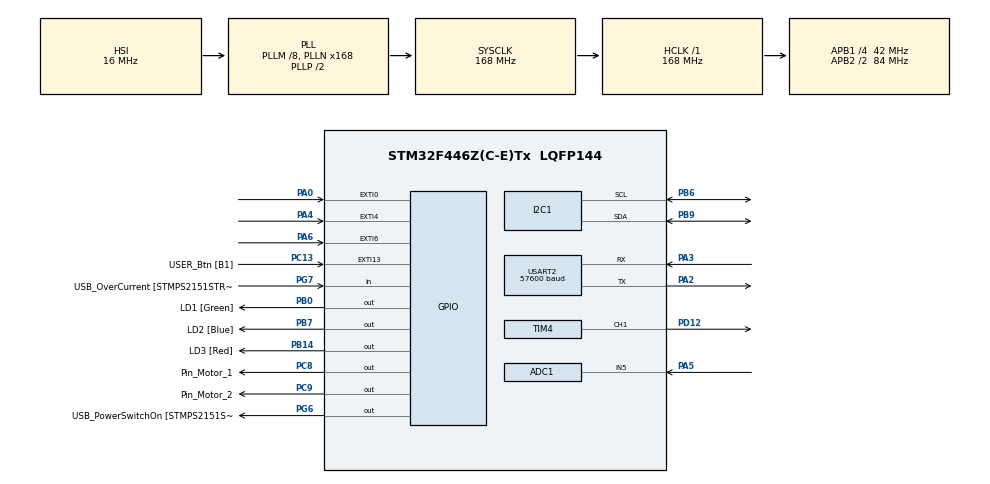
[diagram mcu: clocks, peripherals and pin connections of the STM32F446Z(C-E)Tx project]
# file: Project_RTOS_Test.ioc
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Mcu.Family=STM32F4
PH0-OSC_IN.Signal=RCC_OSC_IN
VP_SYS_VS_tim6.Mode=TIM6
RCC.CortexFreq_Value=168000000
PG6.Signal=GPIO_Output
NVIC.I2C1_EV_IRQn=true\:6\:0\:true\:false\:true\:true\:true
NVIC.TIM6_DAC_IRQn=true\:0\:0\:false\:false\:true\:false\:true
PB14.GPIO_Label=LD3 [Red]
PG6.GPIO_Label=USB_PowerSwitchOn [STMPS2151STR_EN]
PA14.GPIO_Label=TCK
RCC.SYSCLKSourceVirtual=RCC_SYSCLKSOURCE_PLLCLK
PB0.GPIO_Label=LD1 [Green]
PC13.GPIO_Label=USER_Btn [B1]
RCC.SYSCLKSource=RCC_SYSCLKSOURCE_PLLCLK
ProjectManager.StackSize=0x400
NVIC.ADC_IRQn=true\:6\:0\:true\:false\:true\:true\:true
PA12.Signal=USB_OTG_FS_DP
RCC.HCLKFreq_Value=168000000
RCC.APB2TimFreq_Value=168000000
TIM4.Pulse-PWM\ Generation1\ CH1=8000
PB6.Signal=I2C1_SCL
ADC1.InjNumberOfConversion=0
PB6.Mode=I2C
PD8.Signal=USART3_TX
RCC.AHBFreq_Value=168000000
PH0-OSC_IN.GPIO_Label=MCO [STM32F103CBT6_PA8]
NVIC.EXTI15_10_IRQn=true\:6\:0\:true\:false\:true\:true\:true
ADC1.Channel-0\#ChannelRegularConversion=ADC_CHANNEL_5
RCC.HSE_VALUE=8000000
RCC.PLLMUL=RCC_PLL_MUL9
PA10.GPIO_Label=USB_ID
PB7.Signal=GPIO_Output
PA8.Signal=USB_OTG_FS_SOF
TIM4.Period=10000
NVIC.I2C1_ER_IRQn=true\:6\:0\:true\:false\:true\:true\:true
PB6.GPIO_PuPdOD=GPIO_NOPULL
ADC1.SamplingTime-0\#ChannelRegularConversion=ADC_SAMPLETIME_3CYCLES
PB7.GPIO_Label=LD2 [Blue]
Mcu.Package=LQFP144
PB9.Signal=I2C1_SDA
PA6.Signal=GPXTI6
NVIC.TimeBase=TIM6_DAC_IRQn
USART2.VirtualMode=VM_ASYNC
PD12.Signal=S_TIM4_CH1
NVIC.TimeBaseIP=TIM6
PA10.Signal=USB_OTG_FS_ID
PC8.GPIO_Speed=GPIO_SPEED_FREQ_MEDIUM
RCC.APB2CLKDivider=RCC_HCLK_DIV2
SH.SharedAnalog_PA5.1=ADC1_IN5,IN5
SH.SharedAnalog_PA5.0=GPIO_Analog
SH.S_TIM4_CH1.0=TIM4_CH1,PWM Generation1 CH1
RCC.APB1TimFreq_Value=84000000
PA3.Signal=USART2_RX
TIM4.Channel-PWM\ Generation1\ CH1=TIM_CHANNEL_1
NVIC.EXTI4_IRQn=true\:6\:0\:true\:false\:true\:true\:true
TIM4.AutoReloadPreload=TIM_AUTORELOAD_PRELOAD_ENABLE
ADC1.Rank-0\#ChannelRegularConversion=1
PG7.Signal=GPIO_Input
TIM4.CounterMode=TIM_COUNTERMODE_UP
PD9.GPIO_Label=STLK_TX [STM32F103CBT6_PA2]
PC9.GPIO_Label=Pin_Motor_2
PC13.Signal=GPXTI13
PA9.GPIO_Label=USB_VBUS
PC8.Signal=GPIO_Output
PA11.GPIO_Label=USB_DM
PD9.Signal=USART3_RX
RCC.APB1CLKDivider=RCC_HCLK_DIV4
PC14-OSC32_IN.Signal=RCC_OSC32_IN
NVIC.USART2_IRQn=true\:6\:0\:true\:false\:true\:true\:true
USART2.BaudRate=57600
PA12.GPIO_Label=USB_DP
PA0-WKUP.Signal=GPXTI0
PD8.GPIO_Label=STLK_RX [STM32F103CBT6_PA3]
PC8.GPIO_Label=Pin_Motor_1
PA3.Mode=Asynchronous
PA13.Signal=SYS_JTMS-SWDIO
PA8.GPIO_Label=USB_SOF [TP1]
ProjectManager.TargetToolchain=STM32CubeIDE
I2C1.I2C_Mode=I2C_Standard
PB9.Mode=I2C
PA9.Signal=USB_OTG_FS_VBUS
RCC.USBFreq_Value=168000000
TIM4.Prescaler=420
RCC.LSE_VALUE=32768
PC15-OSC32_OUT.Signal=RCC_OSC32_OUT
PB14.Signal=GPIO_Output
PA5.Signal=SharedAnalog_PA5
board=NUCLEO-F446ZE
RCC.VCOOutputFreq_Value=336000000
RCC.APB2Freq_Value=84000000
RCC.PRESCALERUSB=RCC_USBCLKSOURCE_PLL_DIV1_5
PG7.GPIO_Label=USB_OverCurrent [STMPS2151STR_FAULT]
PH1-OSC_OUT.Signal=RCC_OSC_OUT
ADC1.NbrOfConversion=1
Mcu.Name=STM32F446Z(C-E)Tx
PA2.Signal=USART2_TX
PA13.GPIO_Label=TMS
I2C1.OwnAddress=97
RCC.48MHZClocksFreq_Value=24000000
NVIC.EXTI0_IRQn=true\:6\:0\:true\:false\:true\:true\:true
PA4.Signal=GPXTI4
RCC.SYSCLKFreq_VALUE=168000000
ADC1.master=1
PA11.Signal=USB_OTG_FS_DM
NVIC.EXTI9_5_IRQn=true\:6\:0\:true\:false\:true\:true\:true
PA14.Signal=SYS_JTCK-SWCLK
ProjectManager.HeapSize=0x200
PB9.GPIO_PuPdOD=GPIO_NOPULL
RCC.HSI_VALUE=16000000
VP_TIM4_VS_ClockSourceINT.Mode=Internal
PC9.GPIO_Speed=GPIO_SPEED_FREQ_MEDIUM
NVIC.PriorityGroup=NVIC_PRIORITYGROUP_4
ADC1.NbrOfConversionFlag=1
RCC.PLLM=8
RCC.PLLN=168
PA2.Mode=Asynchronous
PC9.Signal=GPIO_Output
RCC.APB1Freq_Value=42000000
PB0.Signal=GPIO_Output

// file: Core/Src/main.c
/* USER CODE BEGIN Header */
/**
  ******************************************************************************
  * @file           : main.c
  * @brief          : Main program body
  ******************************************************************************
  * @attention
  *
  * <h2><center>&copy; Copyright (c) 2021 STMicroelectronics.
  * All rights reserved.</center></h2>
  *
  * This software component is licensed by ST under BSD 3-Clause license,
  * the "License"; You may not use this file except in compliance with the
  * License. You may obtain a copy of the License at:
  *                        opensource.org/licenses/BSD-3-Clause
  *
  ******************************************************************************
  */
/* USER CODE END Header */
#include "main.h"

ADC_HandleTypeDef hadc1;

I2C_HandleTypeDef hi2c1;

TIM_HandleTypeDef htim4;

UART_HandleTypeDef huart2;

/* USER CODE BEGIN PV */

#define DWT_CTRL	(*(volatile uint32_t*)0xE0001000)

TaskHandle_t print_LCD;
TaskHandle_t uart_deco;
TaskHandle_t uart_out;
TaskHandle_t all_menus_handler;

QueueHandle_t q_print_lcd;
QueueHandle_t q_print_uart;
QueueHandle_t q_data_uart;

volatile uint8_t uart_data;
uint8_t cont_timer = 0;
uint32_t valor_adc;
uint8_t send_agm_uart = 0;
uint8_t send_adc_uart = 0;
uint8_t valor_pwm_ext;

FlagStatus state_agm = RESET;
FlagStatus state_adc_pwm = RESET;

SemaphoreHandle_t sema_lcd;
SemaphoreHandle_t sema_i2c_rx_end;
SemaphoreHandle_t sema_adc;

state_t display_state = Menu_1;

control_pwm_t ctrl_pwm = Interno_ADC;

A_M_ejes_t Acel_ejes, Magne_ejes;
G_ejes_t Gyro_ejes;
AGM_t AGM_ejes;
AGM_t *pAGM_ejes = &AGM_ejes;

TimerHandle_t AGM_ADC_timer;
TimerHandle_t Buttons_timer[4];

/* USER CODE END PV */

void SystemClock_Config(void);
static void MX_GPIO_Init(void);
static void MX_ADC1_Init(void);
static void MX_I2C1_Init(void);
static void MX_TIM4_Init(void);
static void MX_USART2_UART_Init(void);
/* USER CODE BEGIN PFP */

extern void SEGGER_UART_init(U32 baud);

void AGM_ADC_timer_callback(TimerHandle_t xTimer);
void Buttons_timer_callback(TimerHandle_t xTimer);

void Init_tasks(void);
void Init_semaphores(void);
void Init_queues(void);
void Init_timers(void);

/* USER CODE END PFP */

int main(void)
{
  /* USER CODE BEGIN 1 */

	AGM_ejes.Acel_ejes = &Acel_ejes;
	AGM_ejes.Gyro_ejes = &Gyro_ejes;
	AGM_ejes.Magne_ejes = &Magne_ejes;

  /* USER CODE END 1 */

  /* MCU Configuration--------------------------------------------------------*/

  /* Reset of all peripherals, Initializes the Flash interface and the Systick. */
  HAL_Init();

  /* Configure the system clock */
  SystemClock_Config();

  /* Initialize all configured peripherals */
  MX_GPIO_Init();
  MX_ADC1_Init();
  MX_I2C1_Init();
  MX_TIM4_Init();
  MX_USART2_UART_Init();
  /* USER CODE BEGIN 2 */

  	lcd_init();

	// Enable the CYCCNT counter
	DWT_CTRL |= (1 << 0);

	SEGGER_UART_init(500000);
	SEGGER_SYSVIEW_Conf();

	Init_tasks();

	Init_queues();

	Init_semaphores();

	Init_timers();

	HAL_UART_Receive_IT(&huart2, (uint8_t*)&uart_data, 1);

	// Start the FreeRTOS scheduler
	vTaskStartScheduler();

  /* USER CODE END 2 */

  /* Infinite loop */
  while (1)
  {

  }
}

void SystemClock_Config(void)
{
  RCC_OscInitTypeDef RCC_OscInitStruct = {0};
  RCC_ClkInitTypeDef RCC_ClkInitStruct = {0};

  /** Configure the main internal regulator output voltage
  */
  __HAL_RCC_PWR_CLK_ENABLE();
  __HAL_PWR_VOLTAGESCALING_CONFIG(PWR_REGULATOR_VOLTAGE_SCALE1);
  /** Initializes the RCC Oscillators according to the specified parameters
  * in the RCC_OscInitTypeDef structure.
  */
  RCC_OscInitStruct.OscillatorType = RCC_OSCILLATORTYPE_HSI;
  RCC_OscInitStruct.HSIState = RCC_HSI_ON;
  RCC_OscInitStruct.HSICalibrationValue = RCC_HSICALIBRATION_DEFAULT;
  RCC_OscInitStruct.PLL.PLLState = RCC_PLL_ON;
  RCC_OscInitStruct.PLL.PLLSource = RCC_PLLSOURCE_HSI;
  RCC_OscInitStruct.PLL.PLLM = 8;
  RCC_OscInitStruct.PLL.PLLN = 168;
  RCC_OscInitStruct.PLL.PLLP = RCC_PLLP_DIV2;
  RCC_OscInitStruct.PLL.PLLQ = 2;
  RCC_OscInitStruct.PLL.PLLR = 2;
  if (HAL_RCC_OscConfig(&RCC_OscInitStruct) != HAL_OK)
  {
    Error_Handler();
  }
  /** Initializes the CPU, AHB and APB buses clocks
  */
  RCC_ClkInitStruct.ClockType = RCC_CLOCKTYPE_HCLK|RCC_CLOCKTYPE_SYSCLK
                              |RCC_CLOCKTYPE_PCLK1|RCC_CLOCKTYPE_PCLK2;
  RCC_ClkInitStruct.SYSCLKSource = RCC_SYSCLKSOURCE_PLLCLK;
  RCC_ClkInitStruct.AHBCLKDivider = RCC_SYSCLK_DIV1;
  RCC_ClkInitStruct.APB1CLKDivider = RCC_HCLK_DIV4;
  RCC_ClkInitStruct.APB2CLKDivider = RCC_HCLK_DIV2;

  if (HAL_RCC_ClockConfig(&RCC_ClkInitStruct, FLASH_LATENCY_5) != HAL_OK)
  {
    Error_Handler();
  }
}

static void MX_ADC1_Init(void)
{

  ADC_ChannelConfTypeDef sConfig = {0};

  /** Configure the global features of the ADC (Clock, Resolution, Data Alignment and number of conversion)
  */
  hadc1.Instance = ADC1;
  hadc1.Init.ClockPrescaler = ADC_CLOCK_SYNC_PCLK_DIV4;
  hadc1.Init.Resolution = ADC_RESOLUTION_12B;
  hadc1.Init.ScanConvMode = DISABLE;
  hadc1.Init.ContinuousConvMode = DISABLE;
  hadc1.Init.DiscontinuousConvMode = DISABLE;
  hadc1.Init.ExternalTrigConvEdge = ADC_EXTERNALTRIGCONVEDGE_NONE;
  hadc1.Init.ExternalTrigConv = ADC_SOFTWARE_START;
  hadc1.Init.DataAlign = ADC_DATAALIGN_RIGHT;
  hadc1.Init.NbrOfConversion = 1;
  hadc1.Init.DMAContinuousRequests = DISABLE;
  hadc1.Init.EOCSelection = ADC_EOC_SINGLE_CONV;
  if (HAL_ADC_Init(&hadc1) != HAL_OK)
  {
    Error_Handler();
  }
  /** Configure for the selected ADC regular channel its corresponding rank in the sequencer and its sample time.
  */
  sConfig.Channel = ADC_CHANNEL_5;
  sConfig.Rank = 1;
  sConfig.SamplingTime = ADC_SAMPLETIME_3CYCLES;
  if (HAL_ADC_ConfigChannel(&hadc1, &sConfig) != HAL_OK)
  {
    Error_Handler();
  }

}

static void MX_I2C1_Init(void)
{

  hi2c1.Instance = I2C1;
  hi2c1.Init.ClockSpeed = 100000;
  hi2c1.Init.DutyCycle = I2C_DUTYCYCLE_2;
  hi2c1.Init.OwnAddress1 = 194;
  hi2c1.Init.AddressingMode = I2C_ADDRESSINGMODE_7BIT;
  hi2c1.Init.DualAddressMode = I2C_DUALADDRESS_DISABLE;
  hi2c1.Init.OwnAddress2 = 0;
  hi2c1.Init.GeneralCallMode = I2C_GENERALCALL_DISABLE;
  hi2c1.Init.NoStretchMode = I2C_NOSTRETCH_DISABLE;
  if (HAL_I2C_Init(&hi2c1) != HAL_OK)
  {
    Error_Handler();
  }

}

static void MX_TIM4_Init(void)
{

  TIM_ClockConfigTypeDef sClockSourceConfig = {0};
  TIM_MasterConfigTypeDef sMasterConfig = {0};
  TIM_OC_InitTypeDef sConfigOC = {0};

  htim4.Instance = TIM4;
  htim4.Init.Prescaler = 420;
  htim4.Init.CounterMode = TIM_COUNTERMODE_UP;
  htim4.Init.Period = 10000;
  htim4.Init.ClockDivision = TIM_CLOCKDIVISION_DIV1;
  htim4.Init.AutoReloadPreload = TIM_AUTORELOAD_PRELOAD_ENABLE;
  if (HAL_TIM_Base_Init(&htim4) != HAL_OK)
  {
    Error_Handler();
  }
  sClockSourceConfig.ClockSource = TIM_CLOCKSOURCE_INTERNAL;
  if (HAL_TIM_ConfigClockSource(&htim4, &sClockSourceConfig) != HAL_OK)
  {
    Error_Handler();
  }
  if (HAL_TIM_PWM_Init(&htim4) != HAL_OK)
  {
    Error_Handler();
  }
  sMasterConfig.MasterOutputTrigger = TIM_TRGO_RESET;
  sMasterConfig.MasterSlaveMode = TIM_MASTERSLAVEMODE_DISABLE;
  if (HAL_TIMEx_MasterConfigSynchronization(&htim4, &sMasterConfig) != HAL_OK)
  {
    Error_Handler();
  }
  sConfigOC.OCMode = TIM_OCMODE_PWM1;
  sConfigOC.Pulse = 8000;
  sConfigOC.OCPolarity = TIM_OCPOLARITY_HIGH;
  sConfigOC.OCFastMode = TIM_OCFAST_DISABLE;
  if (HAL_TIM_PWM_ConfigChannel(&htim4, &sConfigOC, TIM_CHANNEL_1) != HAL_OK)
  {
    Error_Handler();
  }
  HAL_TIM_MspPostInit(&htim4);

}

static void MX_USART2_UART_Init(void)
{

  huart2.Instance = USART2;
  huart2.Init.BaudRate = 57600;
  huart2.Init.WordLength = UART_WORDLENGTH_8B;
  huart2.Init.StopBits = UART_STOPBITS_1;
  huart2.Init.Parity = UART_PARITY_NONE;
  huart2.Init.Mode = UART_MODE_TX_RX;
  huart2.Init.HwFlowCtl = UART_HWCONTROL_NONE;
  huart2.Init.OverSampling = UART_OVERSAMPLING_16;
  if (HAL_UART_Init(&huart2) != HAL_OK)
  {
    Error_Handler();
  }

}

static void MX_GPIO_Init(void)
{
  GPIO_InitTypeDef GPIO_InitStruct = {0};

  /* GPIO Ports Clock Enable */
  __HAL_RCC_GPIOC_CLK_ENABLE();
  __HAL_RCC_GPIOH_CLK_ENABLE();
  __HAL_RCC_GPIOA_CLK_ENABLE();
  __HAL_RCC_GPIOB_CLK_ENABLE();
  __HAL_RCC_GPIOD_CLK_ENABLE();
  __HAL_RCC_GPIOG_CLK_ENABLE();

  /*Configure GPIO pin Output Level */
  HAL_GPIO_WritePin(GPIOB, LD1_Pin|LD3_Pin|LD2_Pin, GPIO_PIN_RESET);

  /*Configure GPIO pin Output Level */
  HAL_GPIO_WritePin(USB_PowerSwitchOn_GPIO_Port, USB_PowerSwitchOn_Pin, GPIO_PIN_RESET);

  /*Configure GPIO pin Output Level */
  HAL_GPIO_WritePin(GPIOC, Pin_Motor_1_Pin|Pin_Motor_2_Pin, GPIO_PIN_RESET);

  /*Configure GPIO pin : USER_Btn_Pin */
  GPIO_InitStruct.Pin = USER_Btn_Pin;
  GPIO_InitStruct.Mode = GPIO_MODE_IT_RISING;
  GPIO_InitStruct.Pull = GPIO_NOPULL;
  HAL_GPIO_Init(USER_Btn_GPIO_Port, &GPIO_InitStruct);

  /*Configure GPIO pins : PA0 PA4 PA6 */
  GPIO_InitStruct.Pin = GPIO_PIN_0|GPIO_PIN_4|GPIO_PIN_6;
  GPIO_InitStruct.Mode = GPIO_MODE_IT_RISING;
  GPIO_InitStruct.Pull = GPIO_NOPULL;
  HAL_GPIO_Init(GPIOA, &GPIO_InitStruct);

  /*Configure GPIO pins : LD1_Pin LD3_Pin LD2_Pin */
  GPIO_InitStruct.Pin = LD1_Pin|LD3_Pin|LD2_Pin;
  GPIO_InitStruct.Mode = GPIO_MODE_OUTPUT_PP;
  GPIO_InitStruct.Pull = GPIO_NOPULL;
  GPIO_InitStruct.Speed = GPIO_SPEED_FREQ_LOW;
  HAL_GPIO_Init(GPIOB, &GPIO_InitStruct);

  /*Configure GPIO pins : STLK_RX_Pin STLK_TX_Pin */
  GPIO_InitStruct.Pin = STLK_RX_Pin|STLK_TX_Pin;
  GPIO_InitStruct.Mode = GPIO_MODE_AF_PP;
  GPIO_InitStruct.Pull = GPIO_NOPULL;
  GPIO_InitStruct.Speed = GPIO_SPEED_FREQ_VERY_HIGH;
  GPIO_InitStruct.Alternate = GPIO_AF7_USART3;
  HAL_GPIO_Init(GPIOD, &GPIO_InitStruct);

  /*Configure GPIO pin : USB_PowerSwitchOn_Pin */
  GPIO_InitStruct.Pin = USB_PowerSwitchOn_Pin;
  GPIO_InitStruct.Mode = GPIO_MODE_OUTPUT_PP;
  GPIO_InitStruct.Pull = GPIO_NOPULL;
  GPIO_InitStruct.Speed = GPIO_SPEED_FREQ_LOW;
  HAL_GPIO_Init(USB_PowerSwitchOn_GPIO_Port, &GPIO_InitStruct);

  /*Configure GPIO pin : USB_OverCurrent_Pin */
  GPIO_InitStruct.Pin = USB_OverCurrent_Pin;
  GPIO_InitStruct.Mode = GPIO_MODE_INPUT;
  GPIO_InitStruct.Pull = GPIO_NOPULL;
  HAL_GPIO_Init(USB_OverCurrent_GPIO_Port, &GPIO_InitStruct);

  /*Configure GPIO pins : Pin_Motor_1_Pin Pin_Motor_2_Pin */
  GPIO_InitStruct.Pin = Pin_Motor_1_Pin|Pin_Motor_2_Pin;
  GPIO_InitStruct.Mode = GPIO_MODE_OUTPUT_PP;
  GPIO_InitStruct.Pull = GPIO_NOPULL;
  GPIO_InitStruct.Speed = GPIO_SPEED_FREQ_MEDIUM;
  HAL_GPIO_Init(GPIOC, &GPIO_InitStruct);

  /*Configure GPIO pins : USB_SOF_Pin USB_ID_Pin USB_DM_Pin USB_DP_Pin */
  GPIO_InitStruct.Pin = USB_SOF_Pin|USB_ID_Pin|USB_DM_Pin|USB_DP_Pin;
  GPIO_InitStruct.Mode = GPIO_MODE_AF_PP;
  GPIO_InitStruct.Pull = GPIO_NOPULL;
  GPIO_InitStruct.Speed = GPIO_SPEED_FREQ_VERY_HIGH;
  GPIO_InitStruct.Alternate = GPIO_AF10_OTG_FS;
  HAL_GPIO_Init(GPIOA, &GPIO_InitStruct);

  /*Configure GPIO pin : USB_VBUS_Pin */
  GPIO_InitStruct.Pin = USB_VBUS_Pin;
  GPIO_InitStruct.Mode = GPIO_MODE_INPUT;
  GPIO_InitStruct.Pull = GPIO_NOPULL;
  HAL_GPIO_Init(USB_VBUS_GPIO_Port, &GPIO_InitStruct);

  /* EXTI interrupt init*/
  HAL_NVIC_SetPriority(EXTI0_IRQn, 6, 0);
  HAL_NVIC_EnableIRQ(EXTI0_IRQn);

  HAL_NVIC_SetPriority(EXTI4_IRQn, 6, 0);
  HAL_NVIC_EnableIRQ(EXTI4_IRQn);

  HAL_NVIC_SetPriority(EXTI9_5_IRQn, 6, 0);
  HAL_NVIC_EnableIRQ(EXTI9_5_IRQn);

  HAL_NVIC_SetPriority(EXTI15_10_IRQn, 6, 0);
  HAL_NVIC_EnableIRQ(EXTI15_10_IRQn);

}

/* USER CODE BEGIN 4 */

void Init_tasks(void)
{
	BaseType_t status;

	status = xTaskCreate(vprint_LCD, "Print LCD", 500, NULL, 2, &print_LCD);
	configASSERT(status == pdPASS);

	status = xTaskCreate(vuart_deco, "UART Deco", 500, NULL, 5, &uart_deco);
	configASSERT(status == pdPASS);

	status = xTaskCreate(vuart_out, "UART out", 500, NULL, 4, &uart_out);
	configASSERT(status == pdPASS);

	status = xTaskCreate(vall_menus_handler, "All_menus_handler", 500, NULL, 2, &all_menus_handler);
	configASSERT(status == pdPASS);
}

void Init_semaphores(void)
{
	sema_lcd = xSemaphoreCreateBinary();
	configASSERT(sema_lcd != NULL);

	sema_i2c_rx_end = xSemaphoreCreateBinary();
	configASSERT(sema_i2c_rx_end != NULL);

	sema_adc = xSemaphoreCreateBinary();
	configASSERT(sema_adc != NULL);

	xSemaphoreGive(sema_lcd);
}

void Init_queues(void)
{
	q_print_lcd = xQueueCreate(1, sizeof(state_t*));
	configASSERT(q_print_lcd != NULL);

	q_print_uart = xQueueCreate(10, sizeof(char*));
	configASSERT(q_print_uart != NULL);

	q_data_uart = xQueueCreate(12, sizeof(char));
	configASSERT(q_data_uart != NULL);
}

void Init_timers(void)
{
	AGM_ADC_timer = xTimerCreate("AGM_ADC_timer", pdMS_TO_TICKS(250), pdTRUE, NULL, AGM_ADC_timer_callback);

	for(int i = 0; i < 4; i++)
		Buttons_timer[i] = xTimerCreate("buttons_timer", pdMS_TO_TICKS(250), pdFALSE, (void*)(i + 1), Buttons_timer_callback);
}

void HAL_UART_RxCpltCallback(UART_HandleTypeDef *huart)
{
	BaseType_t xHigherPriorityTaskWoken = pdFALSE;

	// Indicamos al SEGGER que hemos ingresado a una interrupcion
	traceISR_ENTER();

	if(huart == &huart2)
	{
		uint8_t dummy;

		if(xQueueIsQueueFullFromISR(q_data_uart) == pdFALSE)
		{
			/*Queue is not full */

			/* Enqueue data byte */
			xQueueSendFromISR(q_data_uart, (void*)&uart_data, NULL);
		}else{
			/*Queue is full */

			if(uart_data == '\n')
			{
				/*uart_data = '\n' */

				/* make sure that last data byte of the queue is '\n' */
				xQueueReceiveFromISR(q_data_uart, (void*)&dummy, NULL);
				xQueueSendFromISR(q_data_uart, (void*)&uart_data, NULL);
				//xQueueOverwriteFromISR(q_data, &uart_data, NULL);
			}
		}

		/* send notification to command handling task if uart_data = '\n' */
		if(uart_data == '\n')
		{
			xTaskNotifyFromISR(uart_deco, 0, eNoAction, &xHigherPriorityTaskWoken);
		}

		/*  Enable UART data byte reception again in IT mode */
		HAL_UART_Receive_IT(&huart2, (uint8_t*)&uart_data, 1);
	}

	// Solicitamos el cambio de contexto si pxHigherPriorityTaskWoken = pdTrue
	portYIELD_FROM_ISR( xHigherPriorityTaskWoken );

	// Indicamos al SEGGER que estamos saliendo de la interrupcion
	traceISR_EXIT();
}

void HAL_GPIO_EXTI_Callback(uint16_t GPIO_Pin)
{
	BaseType_t xHigherPriorityTaskWoken = pdFALSE;

	// Indicamos al SEGGER que hemos ingresado a una interrupcion
	traceISR_ENTER();

	// Averiguamos que boton fue presionado
	if(GPIO_Pin == GPIO_PIN_0)
	{
		// Se presionó BUTTON_DOWN

		// Deshabilitamos la interrupción a BUTTON_DOWN por 250ms para evitar el rebote
		HAL_NVIC_DisableIRQ(EXTI0_IRQn);
		xTimerStartFromISR(Buttons_timer[0], &xHigherPriorityTaskWoken);

		// Averiguamos en que pantalla estamos y notificamos a la tarea correspondiente
		if((display_state == Menu_1) || (display_state == Configuration_1) || (display_state == Data_1) ||
			(display_state == Data_2) || (display_state == Data_3) || (display_state == Data_4) || (display_state == AGM_1)
			|| (display_state == ADC_1))
			xTaskNotifyFromISR(all_menus_handler, BUTTON_DOWN, eSetValueWithOverwrite, NULL);
	}else if(GPIO_Pin == GPIO_PIN_4)
	{
		// Se presionó BUTTON_UP

		// Deshabilitamos la interrupción a BUTTON_UP por 250ms para evitar el rebote
		HAL_NVIC_DisableIRQ(EXTI4_IRQn);
		xTimerStartFromISR(Buttons_timer[1], &xHigherPriorityTaskWoken);

		// Averiguamos en que pantalla estamos y notificamos a la tarea correspondiente
		if((display_state == Menu_2) || (display_state == Configuration_2) || (display_state == Data_2) ||
			(display_state == Data_3) || (display_state == Data_4) || (display_state == Data_5) || (display_state == AGM_2)
			|| (display_state == ADC_2))
			xTaskNotifyFromISR(all_menus_handler, BUTTON_UP, eSetValueWithOverwrite, NULL);
	}else if(GPIO_Pin == GPIO_PIN_13)
	{
		// Se presionó ENTER

		// Deshabilitamos la interrupción a ENTER por 250ms para evitar el rebote
		HAL_NVIC_DisableIRQ(EXTI15_10_IRQn);
		xTimerStartFromISR(Buttons_timer[2], &xHigherPriorityTaskWoken);

		// Averiguamos en que pantalla estamos y notificamos a la tarea correspondiente
		if((display_state == Menu_1) || (display_state == Menu_2) || (display_state == Configuration_1) || (display_state == Configuration_2)
			|| (display_state == AGM_1) || (display_state == AGM_2) || (display_state == ADC_1)	|| (display_state == ADC_2))
			xTaskNotifyFromISR(all_menus_handler, ENTER, eSetValueWithOverwrite, NULL);
	}else if(GPIO_Pin == GPIO_PIN_6)
	{
		// Se presionó BACK

		// Deshabilitamos la interrupción a BACK por 250ms para evitar el rebote
		HAL_NVIC_DisableIRQ(EXTI9_5_IRQn);
		xTimerStartFromISR(Buttons_timer[3], &xHigherPriorityTaskWoken);

		// Averiguamos en que pantalla estamos y notificamos a la tarea correspondiente
		if((display_state == Configuration_1) || (display_state == Configuration_2) || (display_state == Data_1) ||
			(display_state == Data_2) || (display_state == Data_3) || (display_state == Data_4) || (display_state == Data_5)
			|| (display_state == AGM_1) || (display_state == AGM_2) || (display_state == ADC_1)	|| (display_state == ADC_2))
			xTaskNotifyFromISR(all_menus_handler, BACK, eSetValueWithOverwrite, NULL);
	}

	// Solicitamos el cambio de contexto si pxHigherPriorityTaskWoken = pdTrue
	portYIELD_FROM_ISR( xHigherPriorityTaskWoken );

	// Indicamos al SEGGER que estamos saliendo de la interrupcion
	traceISR_EXIT();
}

void HAL_I2C_MasterTxCpltCallback(I2C_HandleTypeDef *hi2c)
{

}

void HAL_I2C_MasterRxCpltCallback(I2C_HandleTypeDef *hi2c)
{
	BaseType_t xHigherPriorityTaskWoken = pdFALSE;

	// Indicamos al SEGGER que hemos ingresado a una interrupcion
	traceISR_ENTER();

	// Entregamos el semaforo para indicar que la recepción I2C ha finalizado
	xSemaphoreGiveFromISR(sema_i2c_rx_end, &xHigherPriorityTaskWoken);

	// Solicitamos el cambio de contexto si pxHigherPriorityTaskWoken = pdTrue
	portYIELD_FROM_ISR( xHigherPriorityTaskWoken );

	// Indicamos al SEGGER que estamos saliendo de la interrupcion
	traceISR_EXIT();
}

void HAL_I2C_ErrorCallback(I2C_HandleTypeDef *hi2c)
{
	lcd_print_string("Error I2C");

	// Infinite loop
	while(1);
}

// Función timer de lectura de datos que se ejecuta cada 250ms
void AGM_ADC_timer_callback(TimerHandle_t xTimer)
{
	char *msg_data = "Sensores";
	char *msg_data_2 = "Desactivados";
	char data_lcd[17];

	float valor_volt;

	cont_timer++;

	static cadena_lcd_t msg_lcd;
	static cadena_lcd_t *msg = &msg_lcd;

	uint32_t id;

	// Obtenemos el id del timer activado
	id = (uint32_t)pvTimerGetTimerID(xTimer);
	// Indicamos al SEGGER que hemos ingresado a un timer
	SEGGER_SYSVIEW_RecordEnterTimer(id);

	// Leemos los sensores
	valor_volt = read_sensors();

	// Preguntamos si hay solicitudes de envío de datos
	if((send_agm_uart > 0) || (send_adc_uart > 0))
	{
		// Envíamos los datos por el puerto UART y disminuimos las solicitudes
		send_data_uart(valor_volt);
		send_agm_uart--;
		send_adc_uart--;
	}

	// Preguntamos si los sensores están activados o desactivados
	if((state_adc_pwm == RESET) && (state_agm == RESET) && (cont_timer == 1))
	{
		// Ambos sensores están desactivados
		// Imprimimos en LCD
		send_to_lcd(1, 1, LCD_WRITE, msg_data, msg);
		send_to_lcd(2, 1, LCD_WRITE, msg_data_2, msg);
	}else if((state_adc_pwm == SET) && (state_agm == RESET))
	{
		// ADC: activado, AGM: desactivado
		// Imprimimos en LCD
		sprintf(data_lcd, "Volt: %.2f", valor_volt);
		send_to_lcd(1, 1, LCD_WRITE, data_lcd, msg);
	}else
	{
		if(((cont_timer % 2) == 1) && (state_agm == SET))
		{
			// AGM: activado
			// Averiguamos en que pantalla estamos e imprimimos lo correspondiente
			if(display_state == Data_1)
			{
				send_to_lcd(0, 0, LCD_CLEAR, NULL, msg);
				sprintf(data_lcd, "Ax=%5.1f y=%5.1f", AGM_ejes.Acel_ejes->x, AGM_ejes.Acel_ejes->y);
				send_to_lcd(1, 1, LCD_WRITE, data_lcd, msg);
				sprintf(data_lcd, "z=%5.1f Gx=%5.1f", AGM_ejes.Acel_ejes->z, AGM_ejes.Gyro_ejes->x);
				send_to_lcd(2, 1, LCD_WRITE, data_lcd, msg);
			}else if(display_state == Data_2)
			{
				send_to_lcd(0, 0, LCD_CLEAR, NULL, msg);
				sprintf(data_lcd, "z=%5.1f Gx=%5.1f", AGM_ejes.Acel_ejes->z, AGM_ejes.Gyro_ejes->x);
				send_to_lcd(1, 1, LCD_WRITE, data_lcd, msg);
				sprintf(data_lcd, "y=%5.1f z=%5.1f", AGM_ejes.Gyro_ejes->y, AGM_ejes.Gyro_ejes->z);
				send_to_lcd(2, 1, LCD_WRITE, data_lcd, msg);
			}else if(display_state == Data_3)
			{
				send_to_lcd(0, 0, LCD_CLEAR, NULL, msg);
				sprintf(data_lcd, "y=%5.1f z=%5.1f", AGM_ejes.Gyro_ejes->y, AGM_ejes.Gyro_ejes->z);
				send_to_lcd(1, 1, LCD_WRITE, data_lcd, msg);
				sprintf(data_lcd, "Mx=%5.1f y=%5.1f", AGM_ejes.Magne_ejes->x, AGM_ejes.Magne_ejes->y);
				send_to_lcd(2, 1, LCD_WRITE, data_lcd, msg);
			}else if(display_state == Data_4)
			{
				send_to_lcd(0, 0, LCD_CLEAR, NULL, msg);
				sprintf(data_lcd, "Mx=%5.1f y=%5.1f", AGM_ejes.Magne_ejes->x, AGM_ejes.Magne_ejes->y);
				send_to_lcd(1, 1, LCD_WRITE, data_lcd, msg);
				sprintf(data_lcd, "z=%5.1f", AGM_ejes.Magne_ejes->z);
				send_to_lcd(2, 1, LCD_WRITE, data_lcd, msg);
			}else if(display_state == Data_5)
			{
				send_to_lcd(0, 0, LCD_CLEAR, NULL, msg);
				sprintf(data_lcd, "z=%5.1f", AGM_ejes.Magne_ejes->z);
				send_to_lcd(1, 1, LCD_WRITE, data_lcd, msg);
			}
		}

		if((state_adc_pwm == SET) && (display_state == Data_5))
		{
			// ADC: activado
			// Convertimos el dato adc a voltaje e imprimimos
			//valor_volt = conv_adc_volt();
			sprintf(data_lcd, "Volt: %.2f", valor_volt);
			send_to_lcd(2, 1, LCD_WRITE, data_lcd, msg);
		}
	}

	// Reiniciamos el contador cuando es 200
	if(cont_timer == 200)
		cont_timer = 0;

	// Indicamos al SEGGER que estamos saliendo del timer
	SEGGER_SYSVIEW_RecordExitTimer();
}

// Función timer que se ejecuta 250ms luego de haber presionado un botón, está función
// vuelve a activar la interrupción del botón correspondiente
void Buttons_timer_callback(TimerHandle_t xTimer)
{
	// Obtenemos el id del timer activado
	uint32_t id;
	id = (uint32_t)pvTimerGetTimerID(xTimer);
	// Indicamos al SEGGER que hemos ingresado a un timer
	SEGGER_SYSVIEW_RecordEnterTimer(id);

	// Limpiamos los flags correspondientes antes de volver a activar la interrupción
	switch(id)
	{
		case 1:
			__HAL_GPIO_EXTI_CLEAR_IT(GPIO_PIN_0);
			HAL_NVIC_ClearPendingIRQ(EXTI0_IRQn);
			HAL_NVIC_EnableIRQ(EXTI0_IRQn);
			break;
		case 2:
			__HAL_GPIO_EXTI_CLEAR_IT(GPIO_PIN_4);
			HAL_NVIC_ClearPendingIRQ(EXTI4_IRQn);
			HAL_NVIC_EnableIRQ(EXTI4_IRQn);
			break;
		case 3:
			__HAL_GPIO_EXTI_CLEAR_IT(GPIO_PIN_13);
			HAL_NVIC_ClearPendingIRQ(EXTI15_10_IRQn);
			HAL_NVIC_EnableIRQ(EXTI15_10_IRQn);
			break;
		case 4:
			__HAL_GPIO_EXTI_CLEAR_IT(GPIO_PIN_6);
			HAL_NVIC_ClearPendingIRQ(EXTI9_5_IRQn);
			HAL_NVIC_EnableIRQ(EXTI9_5_IRQn);
	}

	// Indicamos al SEGGER que estamos saliendo del timer
	SEGGER_SYSVIEW_RecordExitTimer();
}

void HAL_ADC_ConvCpltCallback(ADC_HandleTypeDef* hadc)
{
	BaseType_t xHigherPriorityTaskWoken = pdFALSE;

	// Indicamos al SEGGER que hemos ingresado a una interrupcion
	traceISR_ENTER();

	// Obtenemos el valor adc obtenido
	valor_adc = HAL_ADC_GetValue(&hadc1);
	// Actualizamos el valor del PWM
	TIM4->CCR1 = (10000 * valor_adc) / 4095;

	// Entregamos el semaforo, indicando que la conversión adc está completa
	xSemaphoreGiveFromISR(sema_adc, &xHigherPriorityTaskWoken);

	// Solicitamos el cambio de contexto si pxHigherPriorityTaskWoken = pdTrue
	portYIELD_FROM_ISR( xHigherPriorityTaskWoken );

	// Indicamos al SEGGER que estamos saliendo de la interrupcion
	traceISR_EXIT();
}

void HAL_ADC_ErrorCallback(ADC_HandleTypeDef *hadc)
{
	while(1);
}

void vApplicationIdleHook( void )
{
	// Ingresamos al modo ahorro de energía, mientras estamos en la idle task.
	HAL_PWR_EnterSLEEPMode(PWR_MAINREGULATOR_ON, PWR_SLEEPENTRY_WFI);
}

/* USER CODE END 4 */

 /**
  * @brief  Period elapsed callback in non blocking mode
  * @note   This function is called  when TIM6 interrupt took place, inside
  * HAL_TIM_IRQHandler(). It makes a direct call to HAL_IncTick() to increment
  * a global variable "uwTick" used as application time base.
  * @param  htim : TIM handle
  * @retval None
  */
void HAL_TIM_PeriodElapsedCallback(TIM_HandleTypeDef *htim)
{
  if (htim->Instance == TIM6) {
    HAL_IncTick();
  }
}

void Error_Handler(void)
{
  __disable_irq();
  while (1)
  {
  }
}

/************************ (C) COPYRIGHT STMicroelectronics *****END OF FILE****/
